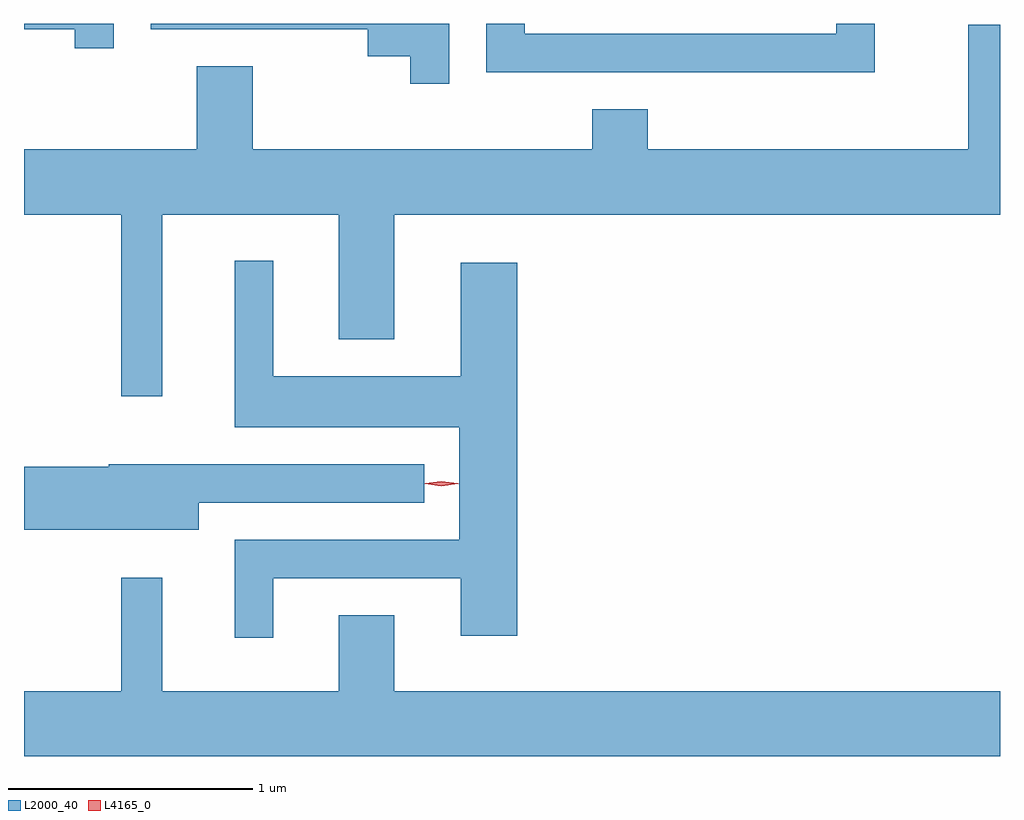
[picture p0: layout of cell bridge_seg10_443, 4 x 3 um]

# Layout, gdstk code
import gdstk
lib = gdstk.Library(unit=1e-6, precision=1e-09)
def P(c, l, *ps):  # polygons
    for p in ps: c.add(gdstk.Polygon(p, *l))
L2000_40 = (2000, 40)
L4165_0 = (4165, 0)

bridge_seg10_443 = lib.new_cell('bridge_seg10_443')
P(bridge_seg10_443, L2000_40, [(1466.819,2119.14),(1466.661,2119.14),(1466.661,2119.099),(1465.384,2119.099),(1465.384,2119.14),(1465.226,2119.14),(1465.226,2118.941),(1466.819,2118.941)],
  [(1463.699,2119.14),(1463.332,2119.14),(1463.332,2119.116),(1463.541,2119.116),(1463.541,2119.038),(1463.699,2119.038)],
  [(1465.074,2119.14),(1463.851,2119.14),(1463.851,2119.116),(1464.741,2119.116),(1464.741,2119.006),(1464.916,2119.006),(1464.916,2118.893),(1465.074,2118.893)],
  [(1463.899,2118.356),(1464.621,2118.356),(1464.621,2117.846),(1464.849,2117.846),(1464.849,2118.356),(1467.332,2118.356),(1467.332,2119.134),(1467.201,2119.134),(1467.201,2118.624),(1465.889,2118.624),(1465.889,2118.789),(1465.661,2118.789),(1465.661,2118.624),(1464.269,2118.624),(1464.269,2118.964),(1464.041,2118.964),(1464.041,2118.624),(1463.332,2118.624),(1463.332,2118.356),(1463.731,2118.356),(1463.731,2117.613),(1463.899,2117.613)],
  [(1464.354,2116.866),(1465.121,2116.866),(1465.121,2116.631),(1465.354,2116.631),(1465.354,2118.159),(1465.121,2118.159),(1465.121,2117.694),(1464.354,2117.694),(1464.354,2118.168),(1464.196,2118.168),(1464.196,2117.486),(1465.116,2117.486),(1465.116,2117.024),(1464.196,2117.024),(1464.196,2116.623),(1464.354,2116.623)],
  [(1464.049,2117.176),(1464.973,2117.176),(1464.973,2117.334),(1463.68,2117.334),(1463.68,2117.324),(1463.332,2117.324),(1463.332,2117.066),(1464.049,2117.066)],
  [(1467.332,2116.404),(1464.849,2116.404),(1464.849,2116.714),(1464.621,2116.714),(1464.621,2116.404),(1463.899,2116.404),(1463.899,2116.868),(1463.731,2116.868),(1463.731,2116.404),(1463.332,2116.404),(1463.332,2116.136),(1467.332,2116.136)])
P(bridge_seg10_443, L4165_0, [(1465.043,2117.245),(1464.977,2117.254),(1464.977,2117.255),(1464.977,2117.256),(1465.043,2117.265),(1465.109,2117.256),(1465.109,2117.255),(1465.109,2117.254)],
  [(1465.043,2117.244),(1464.974,2117.253),(1464.974,2117.254),(1464.974,2117.254),(1465.043,2117.264),(1465.112,2117.254),(1465.113,2117.254),(1465.112,2117.253)])

lib.write_gds('bridge_seg10_443.gds')
